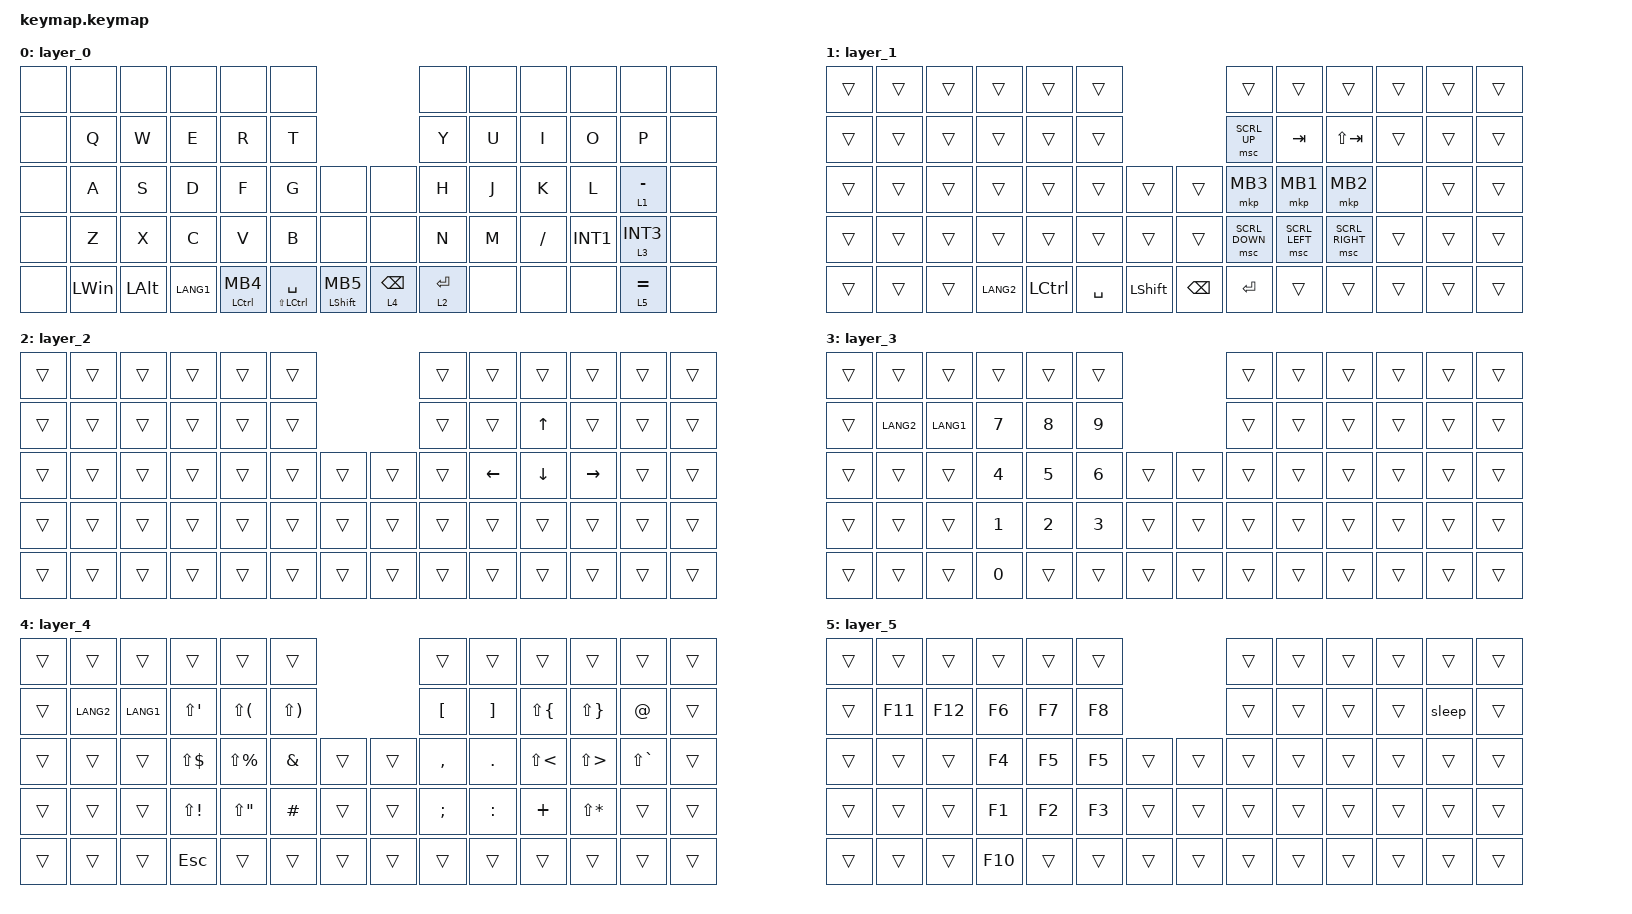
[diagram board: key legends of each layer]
#include <behaviors.dtsi>
#include <dt-bindings/zmk/bt.h>
#include <dt-bindings/zmk/keys.h>
#include <dt-bindings/zmk/pointing.h>
#include <input/processors.dtsi>
#include <dt-bindings/zmk/input_transform.h>
#include <zephyr/dt-bindings/input/input-event-codes.h>

// ==========================================
// レイヤー切り替え（&lt）全体の設定
// ==========================================
&lt {
    tapping-term-ms = <135>; // 長押しの判定時間
    quick-tap-ms = <195>;    // トン・トン（2回目長押し）でタップ側のキーを押しっぱなしにする
};

// ==========================================

/ {
    zip_x_scaler: zip_x_scaler {
        compatible = "zmk,input-processor-scaler";
        #input-processor-cells = <2>;
        type = <INPUT_EV_REL>;
        codes = <INPUT_REL_X>;
    };

    behaviors {
        ht_mb4: hold_tap_mb4 {
            compatible = "zmk,behavior-hold-tap";
            label = "HT_MB4";
            #binding-cells = <2>;
            tapping-term-ms = <140>;
            quick-tap-ms = <140>;
            flavor = "tap-preferred";
            bindings = <&kp>, <&mkp>;
        };

        ht_spc: hold_tap_space {
            compatible = "zmk,behavior-hold-tap";
            label = "HT_SPACE";
            #binding-cells = <2>;
            tapping-term-ms = <140>;
            quick-tap-ms = <140>;
            flavor = "tap-preferred";
            bindings = <&kp>, <&kp>;
        };

        ht_mb5: hold_tap_mb5 {
            compatible = "zmk,behavior-hold-tap";
            label = "HT_MB5";
            #binding-cells = <2>;
            tapping-term-ms = <140>;
            quick-tap-ms = <140>;
            flavor = "tap-preferred";
            bindings = <&kp>, <&mkp>;
        };
    };

    combos {
        compatible = "zmk,combos";

        bt_clear {
            bindings = <&bt BT_CLR>;
            key-positions = <28 29>;
            layers = <2>;
        };
    };

    macros {
        sleep: sleep {
            compatible = "zmk,behavior-macro";
            #binding-cells = <0>;
            bindings = <&kp LEFT_WIN &kp LEFT_CONTROL &kp L>;
            label = "SLEEP";
        };
    };

    keymap {
        compatible = "zmk,keymap";

        layer_0 {
            bindings = <
&none  &none         &none         &none      &none              &none                                      &none        &none  &none      &none                 &none                   &none
&none  &kp Q         &kp W         &kp E      &kp R              &kp T                                      &kp Y        &kp U  &kp I      &kp O                 &kp P                   &none
&none  &kp A         &kp S         &kp D      &kp F              &kp G            &none     &none           &kp H        &kp J  &kp K      &kp L                 &lt 1 MINUS             &none
&none  &kp Z         &kp X         &kp C      &kp V              &kp B            &none     &none           &kp N        &kp M  &kp SLASH  &kp INT1              &lt 3 INT3              &none
&none  &kp LEFT_WIN  &kp LEFT_ALT  &kp LANG1  &ht_mb4 LCTRL MB4  &ht_spc LS(LCTRL) SPACE  &ht_mb5 LSHIFT MB5  &lt 4 BACKSPACE  &lt 2 ENTER  &none  &none      &none                 &lt 5 EQUAL             &none
            >;
        };

        layer_1 {
            bindings = <
&trans  &trans  &trans  &trans     &trans     &trans                                &trans          &trans          &trans           &trans  &trans  &trans
&trans  &trans  &trans  &trans     &trans     &trans                                &msc SCRL_UP    &kp TAB         &kp LS(TAB)      &trans  &trans  &trans
&trans  &trans  &trans  &trans     &trans     &trans     &trans      &trans         &mkp MB3        &mkp MB1        &mkp MB2         &none   &trans  &trans
&trans  &trans  &trans  &trans     &trans     &trans     &trans      &trans         &msc SCRL_DOWN  &msc SCRL_LEFT  &msc SCRL_RIGHT  &trans  &trans  &trans
&trans  &trans  &trans  &kp LANG2  &kp LCTRL  &kp SPACE  &kp LSHIFT  &kp BACKSPACE  &kp ENTER       &trans          &trans           &trans  &trans  &trans
            >;
        };

        layer_2 {
            bindings = <
&trans  &trans  &trans  &trans  &trans  &trans                  &trans  &trans          &trans          &trans           &trans  &trans
&trans  &trans  &trans  &trans  &trans  &trans                  &trans  &trans          &kp UP_ARROW    &trans           &trans  &trans
&trans  &trans  &trans  &trans  &trans  &trans  &trans  &trans  &trans  &kp LEFT_ARROW  &kp DOWN_ARROW  &kp RIGHT_ARROW  &trans  &trans
&trans  &trans  &trans  &trans  &trans  &trans  &trans  &trans  &trans  &trans          &trans          &trans           &trans  &trans
&trans  &trans  &trans  &trans  &trans  &trans  &trans  &trans  &trans  &trans          &trans          &trans           &trans  &trans
            >;
        };

        layer_3 {
            bindings = <
&trans  &trans     &trans     &trans  &trans  &trans                  &trans  &trans  &trans  &trans  &trans  &trans
&trans  &kp LANG2  &kp LANG1  &kp N7  &kp N8  &kp N9                  &trans  &trans  &trans  &trans  &trans  &trans
&trans  &trans     &trans     &kp N4  &kp N5  &kp N6  &trans  &trans  &trans  &trans  &trans  &trans  &trans  &trans
&trans  &trans     &trans     &kp N1  &kp N2  &kp N3  &trans  &trans  &trans  &trans  &trans  &trans  &trans  &trans
&trans  &trans     &trans     &kp N0  &trans  &trans  &trans  &trans  &trans  &trans  &trans  &trans  &trans  &trans
            >;
        };

        layer_4 {
            bindings = <
&trans  &trans     &trans     &trans               &trans                    &trans                                     &trans            &trans             &trans              &trans                &trans         &trans
&trans  &kp LANG2  &kp LANG1  &kp LS(SQT)          &kp LS(LEFT_PARENTHESIS)  &kp LS(RIGHT_PARENTHESIS)                  &kp LEFT_BRACKET  &kp RIGHT_BRACKET  &kp LS(LEFT_BRACE)  &kp LS(RIGHT_BRACE)   &kp AT_SIGN    &trans
&trans  &trans     &trans     &kp LS(DOLLAR)       &kp LS(PERCENT)           &kp AMPERSAND              &trans  &trans  &kp COMMA         &kp PERIOD         &kp LS(LESS_THAN)   &kp LS(GREATER_THAN)  &kp LS(GRAVE)  &trans
&trans  &trans     &trans     &kp LS(EXCLAMATION)  &kp LS(DOUBLE_QUOTES)     &kp HASH                   &trans  &trans  &kp SEMI          &kp COLON          &kp PLUS            &kp LS(ASTERISK)      &trans         &trans
&trans  &trans     &trans     &kp ESC              &trans                    &trans                     &trans  &trans  &trans            &trans             &trans              &trans                &trans         &trans
            >;
        };

        layer_5 {
            bindings = <
&trans  &trans   &trans   &trans   &trans  &trans                  &trans  &trans  &trans  &trans  &trans  &trans
&trans  &kp F11  &kp F12  &kp F6   &kp F7  &kp F8                  &trans  &trans  &trans  &trans  &sleep  &trans
&trans  &trans   &trans   &kp F4   &kp F5  &kp F5  &trans  &trans  &trans  &trans  &trans  &trans  &trans  &trans
&trans  &trans   &trans   &kp F1   &kp F2  &kp F3  &trans  &trans  &trans  &trans  &trans  &trans  &trans  &trans
&trans  &trans   &trans   &kp F10  &trans  &trans  &trans  &trans  &trans  &trans  &trans  &trans  &trans  &trans
            >;
        };
    };
};

&pointing_listener {
    mouse_mode {
        layers = <1 2 3 4 5>;
        input-processors = <
            &zip_xy_transform (INPUT_TRANSFORM_X_INVERT | INPUT_TRANSFORM_Y_INVERT)
            &zip_xy_scaler 70 100
        >;
    };

    scroller {
        layers = <0>;
        input-processors = <
            &zip_x_scaler 0 1
            &zip_xy_to_scroll_mapper
        >;
    };
};
